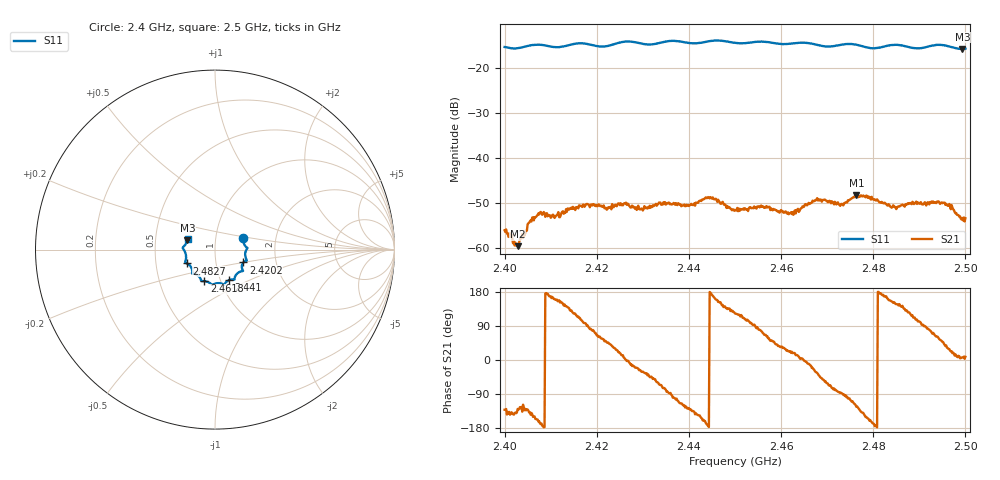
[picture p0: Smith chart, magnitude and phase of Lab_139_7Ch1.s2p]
# Hz S RI R 50
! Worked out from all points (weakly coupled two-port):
!   601 points, 2.4 GHz to 2.5 GHz, reference 50 ohm
!   highest |S21| = -48.27 dB at 2.4763 GHz (marker M1); lowest = -59.7 dB at 2.4028 GHz (marker M2)
!   lowest |S11| = -15.8 dB at 2.4993 GHz (marker M3), VSWR 1.39, Z = 36.5 + j3.83 ohm
!   |S11| at or under -10 dB: start of sweep to end of sweep
!   S12 and S22 are empty: the file has one direction only
!   S11 on the Smith chart (normalised r, x): 2.4 GHz: 1.36, +0.18; 2.4202 GHz: 1.36, -0.20; 2.441 GHz: 1.10, -0.39; 2.4618 GHz: 0.84, -0.30; 2.4827 GHz: 0.72, -0.12; 2.5 GHz: 0.73, +0.09
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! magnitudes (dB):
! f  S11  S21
! 2.4 GHz  -15.4  -56.1
! 2.4028 GHz  -15.6  -59.7
! 2.4055 GHz  -15.0  -54.1
! 2.4075 GHz  -14.9  -52.6
! 2.4105 GHz  -15.3  -52.7
! 2.4167 GHz  -14.5  -50.8
! 2.4202 GHz  -15.2  -50.8
! 2.4297 GHz  -14.6  -51.3
! 2.4333 GHz  -14.5  -50.3
! 2.441 GHz  -14.6  -50.5
! 2.4447 GHz  -14.0  -48.7
! 2.45 GHz  -14.4  -51.6
! 2.4557 GHz  -14.2  -50.6
! 2.4618 GHz  -14.7  -52.4
! 2.4667 GHz  -14.6  -50.0
! 2.473 GHz  -14.9  -50.3
! 2.4763 GHz  -14.8  -48.3
! 2.4827 GHz  -15.2  -50.2
! 2.4833 GHz  -15.0  -50.3
! 2.4943 GHz  -14.9  -49.9
! 2.4993 GHz  -15.8  -53.4
! 2.5 GHz  -15.7  -53.5
